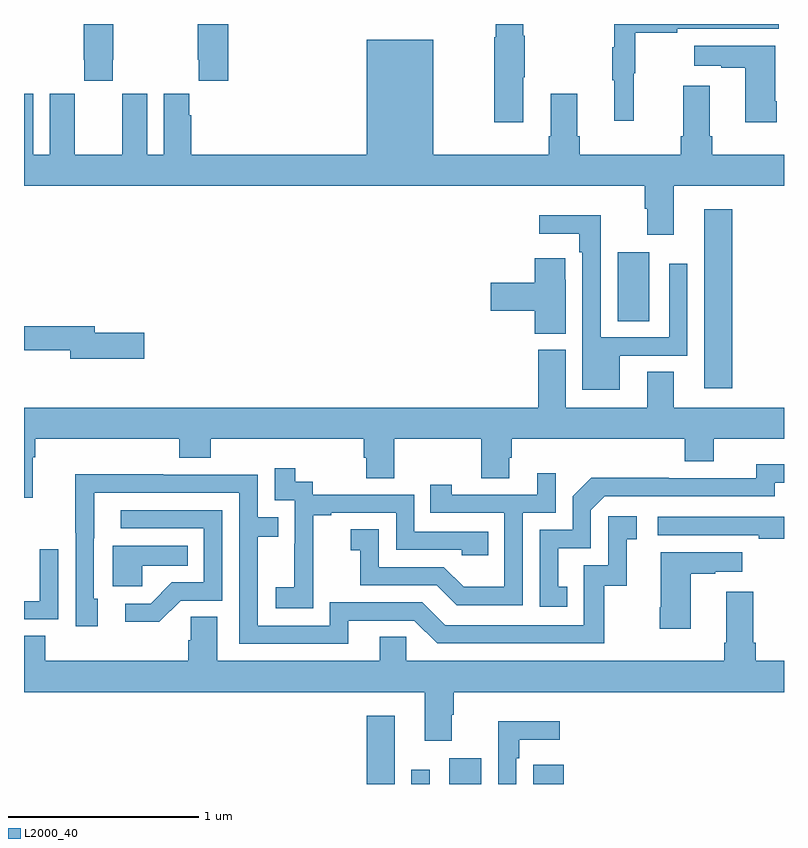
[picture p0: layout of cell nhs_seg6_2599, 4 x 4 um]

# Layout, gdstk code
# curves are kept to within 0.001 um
import gdstk
lib = gdstk.Library(unit=1e-6, precision=1e-09)
def R(c, l, rs):  # rectangles x0, y0, x1, y1
    for r in rs: c.add(gdstk.rectangle(r[:2], r[2:], *l))
def P(c, l, *ps):  # polygons
    for p in ps: c.add(gdstk.Polygon(p, *l))
L2000_40 = (2000, 40)

nhs_seg6_2599 = lib.new_cell('nhs_seg6_2599')
R(nhs_seg6_2599, L2000_40, [(266.804,965.5,266.95,965.86), (267.039,965.5,267.135,965.575), (267.239,965.5,267.406,965.635), (267.681,965.5,267.842,965.602), (268.58,967.584,268.727,968.524), (268.124,967.936,268.291,968.299)])
P(nhs_seg6_2599, L2000_40, [(267.628,969.22),(267.636,969.22),(267.636,969.437),(267.628,969.437),(267.628,969.5),(267.482,969.5),(267.482,969.431),(267.475,969.431),(267.475,968.982),(267.628,968.982)],
  [(268.208,969.24),(268.216,969.24),(268.216,969.454),(268.439,969.454),(268.439,969.474),(268.972,969.474),(268.972,969.5),(268.106,969.5),(268.106,969.377),(268.095,969.377),(268.095,969.203),(268.106,969.203),(268.106,968.991),(268.208,968.991)],
  [(265.467,969.313),(265.47,969.313),(265.47,969.5),(265.315,969.5),(265.315,969.313),(265.317,969.313),(265.317,969.201),(265.467,969.201)],
  [(266.075,969.5),(265.915,969.5),(265.915,969.313),(265.921,969.313),(265.921,969.201),(266.075,969.201)],
  [(268.42,968.648),(269,968.648),(269,968.812),(268.622,968.812),(268.622,968.908),(268.609,968.908),(268.609,969.175),(268.469,969.175),(268.469,968.908),(268.457,968.908),(268.457,968.812),(267.926,968.812),(267.926,968.908),(267.913,968.908),(267.913,969.133),(267.773,969.133),(267.773,968.908),(267.761,968.908),(267.761,968.812),(267.154,968.812),(267.154,969.418),(266.804,969.418),(266.804,968.812),(265.88,968.812),(265.88,969.02),(265.87,969.02),(265.87,969.133),(265.736,969.133),(265.736,968.812),(265.648,968.812),(265.648,969.133),(265.518,969.133),(265.518,969.02),(265.517,969.02),(265.517,968.812),(265.267,968.812),(265.267,969.02),(265.266,969.02),(265.266,969.133),(265.136,969.133),(265.136,968.812),(265.048,968.812),(265.048,969.133),(265,969.133),(265,968.648),(268.268,968.648),(268.268,968.528),(268.28,968.528),(268.28,968.391),(268.42,968.391)],
  [(268.962,969.094),(268.954,969.094),(268.954,969.385),(268.527,969.385),(268.527,969.281),(268.67,969.281),(268.67,969.271),(268.796,969.271),(268.796,968.982),(268.962,968.982)],
  [(268.135,967.755),(268.491,967.755),(268.491,968.239),(268.395,968.239),(268.395,967.851),(268.035,967.851),(268.035,968.494),(267.711,968.494),(267.711,968.396),(267.923,968.396),(267.923,968.3),(267.939,968.3),(267.939,967.574),(268.135,967.574)],
  [(267.85,968.153),(267.849,968.153),(267.849,968.266),(267.689,968.266),(267.689,968.138),(267.456,968.138),(267.456,967.991),(267.689,967.991),(267.689,967.87),(267.85,967.87)],
  [(265.633,967.874),(265.372,967.874),(265.372,967.91),(265,967.91),(265,967.782),(265.244,967.782),(265.244,967.739),(265.633,967.739)],
  [(265.045,967.22),(265.058,967.22),(265.058,967.316),(265.817,967.316),(265.817,967.217),(265.982,967.217),(265.982,967.316),(266.789,967.316),(266.789,967.218),(266.801,967.218),(266.801,967.108),(266.949,967.108),(266.949,967.316),(267.406,967.316),(267.406,967.108),(267.553,967.108),(267.553,967.218),(267.566,967.218),(267.566,967.316),(268.478,967.316),(268.478,967.199),(268.63,967.199),(268.63,967.316),(269,967.316),(269,967.48),(268.42,967.48),(268.42,967.67),(268.28,967.67),(268.28,967.48),(267.85,967.48),(267.85,967.785),(267.707,967.785),(267.707,967.48),(265,967.48),(265,967.007),(265.045,967.007)],
  [(267.86,966.537),(267.811,966.537),(267.811,966.741),(267.984,966.741),(267.984,966.942),(268.056,967.014),(268.95,967.014),(268.95,967.086),(269,967.086),(269,967.183),(268.854,967.183),(268.854,967.11),(268.394,967.11),(268.394,967.112),(267.986,967.112),(267.888,967.014),(267.888,966.837),(267.714,966.837),(267.714,966.432),(267.86,966.432)],
  [(266.523,966.631),(266.522,966.631),(266.522,966.915),(266.617,966.915),(266.617,966.927),(266.958,966.927),(266.958,966.732),(267.303,966.732),(267.303,966.705),(267.443,966.705),(267.443,966.828),(267.054,966.828),(267.054,967.023),(266.52,967.023),(266.52,967.092),(266.428,967.092),(266.428,967.162),(266.319,967.162),(266.319,966.993),(266.424,966.993),(266.424,966.764),(266.423,966.764),(266.423,966.535),(266.325,966.535),(266.325,966.425),(266.523,966.425)],
  [(267.624,966.927),(267.798,966.927),(267.798,967.135),(267.701,967.135),(267.701,967.023),(267.25,967.023),(267.25,967.075),(267.139,967.075),(267.139,966.927),(267.528,966.927),(267.528,966.538),(267.314,966.538),(267.21,966.642),(266.868,966.642),(266.868,966.841),(266.721,966.841),(266.721,966.731),(266.77,966.731),(266.77,966.546),(267.173,966.546),(267.278,966.441),(267.624,966.441)],
  [(266.707,966.36),(267.054,966.36),(267.174,966.24),(268.054,966.24),(268.054,966.543),(268.172,966.543),(268.172,966.789),(268.225,966.789),(268.225,966.91),(268.074,966.91),(268.074,966.651),(267.945,966.651),(267.945,966.336),(267.216,966.336),(267.096,966.456),(266.61,966.456),(266.61,966.333),(266.229,966.333),(266.229,966.802),(266.339,966.802),(266.339,966.903),(266.229,966.903),(266.229,967.128),(265.733,967.128),(265.733,967.13),(265.27,967.13),(265.27,966.823),(265.272,966.823),(265.272,966.33),(265.387,966.33),(265.387,966.474),(265.368,966.474),(265.369,967.032),(266.133,967.032),(266.133,966.237),(266.707,966.237)],
  [(265.824,966.465),(266.043,966.465),(266.043,966.942),(265.509,966.942),(265.509,966.846),(265.947,966.846),(265.947,966.561),(265.778,966.561),(265.667,966.45),(265.533,966.45),(265.533,966.353),(265.711,966.353)],
  [(269,966.906),(268.335,966.906),(268.335,966.81),(268.867,966.81),(268.867,966.79),(269,966.79)],
  [(265.623,966.65),(265.862,966.65),(265.862,966.754),(265.466,966.754),(265.466,966.542),(265.623,966.542)],
  [(265.179,966.736),(265.083,966.736),(265.083,966.462),(265,966.462),(265,966.366),(265.179,966.366)],
  [(268.51,966.607),(268.637,966.607),(268.637,966.617),(268.78,966.617),(268.78,966.721),(268.352,966.721),(268.352,966.43),(268.345,966.43),(268.345,966.318),(268.51,966.318)],
  [(267.11,965.727),(267.25,965.727),(267.25,965.864),(267.263,965.864),(267.263,965.984),(269,965.984),(269,966.148),(268.85,966.148),(268.85,966.244),(268.837,966.244),(268.837,966.511),(268.697,966.511),(268.697,966.244),(268.685,966.244),(268.685,966.148),(267.012,966.148),(267.012,966.275),(266.873,966.275),(266.873,966.148),(266.017,966.148),(266.017,966.38),(265.878,966.38),(265.878,966.257),(265.865,966.257),(265.865,966.148),(265.112,966.148),(265.112,966.281),(265,966.281),(265,965.984),(267.11,965.984)],
  [(267.591,965.636),(267.607,965.636),(267.607,965.732),(267.82,965.732),(267.82,965.83),(267.495,965.83),(267.495,965.5),(267.591,965.5)])

lib.write_gds('nhs_seg6_2599.gds')
